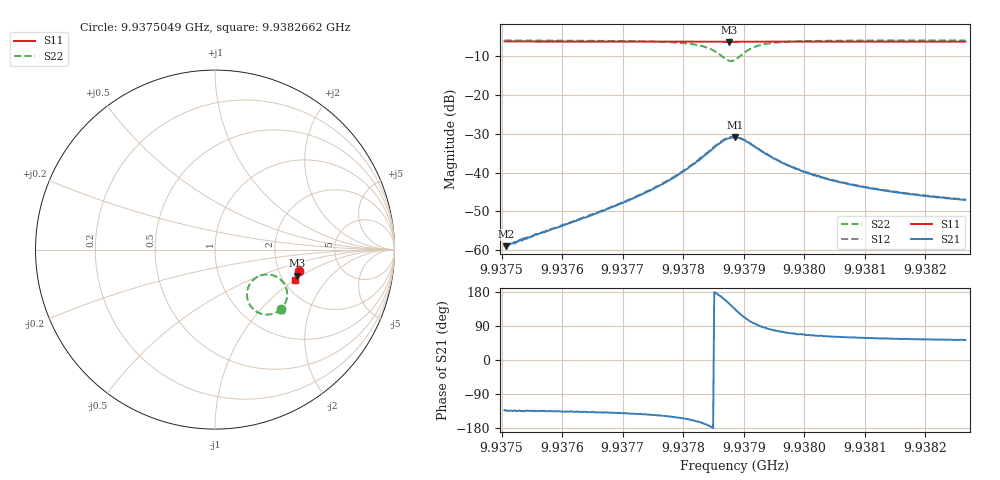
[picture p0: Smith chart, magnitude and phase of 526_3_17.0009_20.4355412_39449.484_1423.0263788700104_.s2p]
#  HZ  S  RI  R  50.00
! Rohde & Schwarz Vector Network Analyzer
! Rohde-Schwarz,ZNB20-2Port,1311601062101988,3.16
! Created: UTC 3/20/2024, 11:15:43 PM
! freq[Hz]  re:S11  im:S11  re:S21  im:S21  re:S12  im:S12  re:S22  im:S22
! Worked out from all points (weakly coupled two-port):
!   401 points, 9.9375049 GHz to 9.9382662 GHz, reference 50 ohm
!   highest |S21| = -30.92 dB at 9.9378855 GHz (marker M1); lowest = -58.9 dB at 9.9375068 GHz (marker M2)
!   lowest |S11| = -6.4 dB at 9.937876 GHz (marker M3), VSWR 2.83, Z = 121 - j45.6 ohm
!   |S11| at or under -10 dB: nowhere
!   |S22| runs from -11.3 to -6.1 dB; largest |S21 - S12| = 0.0013
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9.93750494e9  0.4671 -0.1217  -0.00077 -0.000842  -0.000814 -0.000823  0.3702 -0.3307
9.93750684e9  0.4671 -0.1219  -0.000781 -0.000822  -0.000837 -0.000842  0.3699 -0.331
9.93763244e9  0.4643 -0.1305  -0.00186 -0.00177  -0.00194 -0.00173  0.3543 -0.3426
9.93770286e9  0.4624 -0.1352  -0.00321 -0.0027  -0.00332 -0.00263  0.3389 -0.3513
9.93775995e9  0.4607 -0.1392  -0.00562 -0.00375  -0.00572 -0.00371  0.3155 -0.3595
9.93779991e9  0.4594 -0.1419  -0.00928 -0.00454  -0.00956 -0.00445  0.2833 -0.3619
9.93782085e9  0.4585 -0.1432  -0.0128 -0.00425  -0.013 -0.00432  0.2549 -0.3565
9.93783607e9  0.4576 -0.1442  -0.0164 -0.00318  -0.0168 -0.00291  0.2262 -0.3424
9.93784939e9  0.4569 -0.1449  -0.0205 -0.000195  -0.0209 0.000141  0.1981 -0.3142
9.93786081e9  0.456 -0.1452  -0.0235 0.00435  -0.0241 0.00524  0.18 -0.2713
9.93787603e9  0.4552 -0.1448  -0.0237 0.0143  -0.0236 0.0156  0.1943 -0.1921
9.93788555e9  0.4555 -0.1447  -0.0197 0.0205  -0.0194 0.0213  0.235 -0.1527
9.93789506e9  0.4558 -0.1448  -0.0136 0.0235  -0.0133 0.0242  0.287 -0.1385
9.93790839e9  0.4564 -0.1455  -0.0061 0.0233  -0.00534 0.0238  0.3462 -0.1531
9.93792932e9  0.4568 -0.1473  0.000626 0.0188  0.00111 0.019  0.3898 -0.1993
9.93796548e9  0.4564 -0.1503  0.00373 0.0127  0.00409 0.0126  0.4021 -0.2539
9.93799973e9  0.4556 -0.1528  0.00394 0.00938  0.00417 0.00938  0.3983 -0.2811
9.93801305e9  0.4554 -0.1536  0.00396 0.00866  0.00404 0.00857  0.3959 -0.2882
9.93805873e9  0.4541 -0.1567  0.00365 0.00658  0.00384 0.00657  0.3886 -0.305
9.93814056e9  0.4521 -0.1622  0.00317 0.00477  0.00332 0.00478  0.378 -0.3221
9.93820146e9  0.4503 -0.1663  0.00292 0.00404  0.00302 0.00405  0.3717 -0.3303
9.93826616e9  0.4484 -0.1705  0.00272 0.00355  0.00275 0.00351  0.366 -0.337
